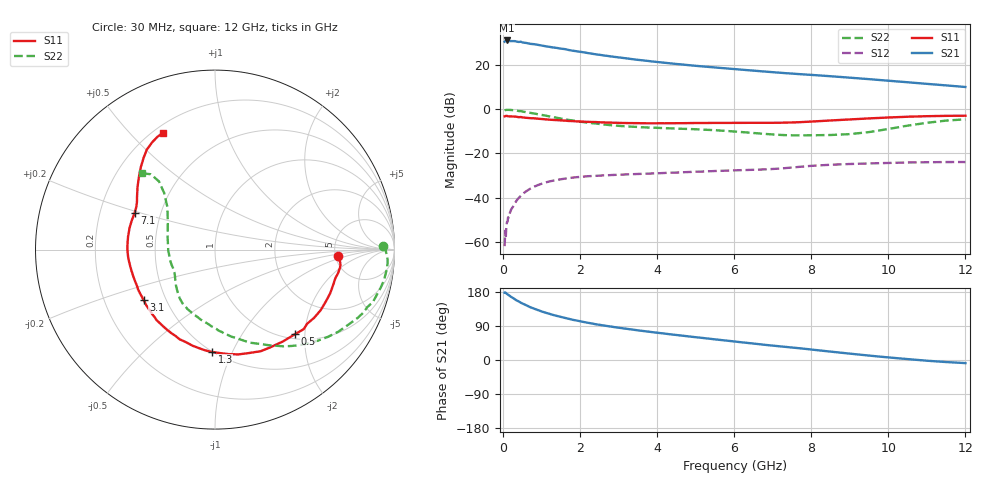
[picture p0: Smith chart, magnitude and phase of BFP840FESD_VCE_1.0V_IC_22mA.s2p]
! Infineon Technologies  Discrete & RF Semiconductors
! BFP840FESD
! VCE =  1.0 V,  IC =  22 mA
! Common Emitter S-Parameters:  May 2012
# GHz  S  MA  R  50
!  f  S11  S21  S12  S22
! GHz  MAG  ANG  MAG  ANG  MAG  ANG  MAG  ANG
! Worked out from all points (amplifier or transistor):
!   103 points, 30 MHz to 12 GHz, reference 50 ohm
!   highest |S21| = 31.1 dB at 80 MHz (marker M1)
!   |S21| within 3 dB of that: start of sweep to 1.232 GHz
!   unconditionally stable (mu >= 1): start of sweep to 31.35 MHz; 5.419 GHz to end of sweep
!   at 400 MHz: K = 0.14, MSG = 35.2 dB, |S12| = -40.1 dB
!   at 3.7 GHz: K = 0.79, MSG = 25.5 dB, |S12| = -29.2 dB
!   at 12 GHz: K = 1.15, MAG = 14.6 dB, |S12| = -23.9 dB
!   S11 on the Smith chart (normalised r, x): 30 MHz: 5.29, -0.77; 500 MHz: 1.10, -1.78; 1.3 GHz: 0.50, -0.84; 3.1 GHz: 0.38, -0.28; 7.1 GHz: 0.35, +0.19; 12 GHz: 0.24, +0.62
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0.03  0.6878 -3.2  33.44 177.6  0.0008 104.4  0.9341 1.1
0.05  0.6986 -5.3  34.65 178.0  0.0018 74.7  0.9519 -0.4
0.08  0.7035 -8.3  35.7 175.4  0.0023 82.9  0.961 -2.5
0.13  0.6887 -13.9  34.4 171.6  0.0035 79.9  0.9638 -6.0
0.3  0.6787 -29.8  34.44 160.1  0.0076 78.1  0.936 -15.6
0.35  0.6703 -34.6  33.49 156.7  0.0088 75.2  0.9273 -18.3
0.45  0.6639 -41.9  33.38 151.2  0.011 71.7  0.8996 -22.8
0.5  0.6488 -46.5  32.03 148.8  0.0122 70.8  0.8818 -25.5
0.8  0.6206 -65.8  29.37 135.3  0.0177 62.1  0.7958 -37.6
1  0.5983 -77.4  27.34 127.8  0.0207 56.9  0.7385 -45.0
1.3  0.5707 -91.7  24.73 118.6  0.0243 51.1  0.6604 -54.7
1.6  0.5501 -103.0  22.74 111.0  0.0269 45.8  0.5893 -63.5
1.8  0.5372 -111.5  20.92 106.1  0.0284 43.3  0.5542 -69.3
2.1  0.5203 -120.8  19.16 100.0  0.03 40.1  0.5052 -76.8
2.6  0.5017 -134.3  16.39 91.1  0.0319 36.9  0.4521 -87.4
3.1  0.4871 -144.8  14.4 83.7  0.0332 34.6  0.4132 -96.1
4.1  0.4792 -162.6  11.39 70.7  0.0358 33.4  0.3747 -110.3
6.1  0.4893 170.2  7.92 47.7  0.0416 33.3  0.3077 -133.6
7.1  0.4925 155.5  6.736 36.9  0.045 35.4  0.2642 -147.9
8.5  0.5547 141.1  5.546 22.1  0.0554 32.7  0.2605 -178.7
10.5  0.6743 124.3  4.053 2.4  0.0623 25.1  0.4243 131.9
12  0.7114 114.2  3.167 -8.2  0.0638 22.4  0.5901 133.8
